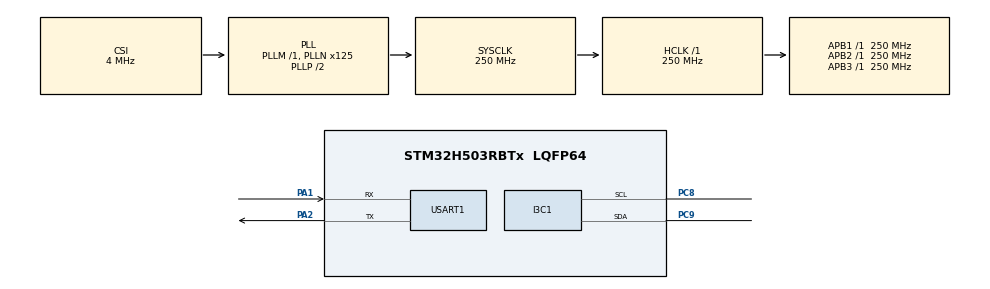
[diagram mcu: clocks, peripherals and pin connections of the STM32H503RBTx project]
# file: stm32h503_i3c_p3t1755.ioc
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CORTEX_M33_NS.Number-Cortex_Memory_Protection_Unit_Region0_OTP_RO_AREAS_Settings=MPU_REGION_NUMBER0
CORTEX_M33_NS.default_mode_Activation=1
I3C1.BusFreeDuration=402
I3C1.FrequencyI3C=12500
I3C1.Register0=0x0059070b
I3C1.Register1=0x003100f8
I3C1.SCLI3CHighDuration=0x07
I3C1.SCLODLowDuration=0x59
I3C1.SCLPPLowDuration=0x0b
I3C1.SCL_OD_Freq=2551
I3C1.SCL_PP_Freq=12500
I3C1.hexBusFreeDuration=0x31
I3C1.hexBusIdleDuration=0xf8
Mcu.Family=STM32H5
Mcu.Name=STM32H503RBTx
Mcu.Package=LQFP64
NVIC.I3C1_ER_IRQn=true\:0\:0\:false\:false\:true\:true\:true\:true
NVIC.I3C1_EV_IRQn=true\:0\:0\:false\:false\:true\:true\:true\:true
NVIC.PriorityGroup=NVIC_PRIORITYGROUP_4
PA1.Mode=Asynchronous
PA1.Signal=USART1_RX
PA13(JTMS/SWDIO).Mode=Serial_Wire
PA13(JTMS/SWDIO).Signal=DEBUG_JTMS-SWDIO
PA14(JTCK/SWCLK).Mode=Serial_Wire
PA14(JTCK/SWCLK).Signal=DEBUG_JTCK-SWCLK
PA2.Mode=Asynchronous
PA2.Signal=USART1_TX
PC8.Mode=Controller
PC8.Signal=I3C1_SCL
PC9.Mode=Controller
PC9.Signal=I3C1_SDA
PH0-OSC_IN(PH0).Mode=HSE-External-Clock-Source
PH0-OSC_IN(PH0).Signal=RCC_OSC_IN
ProjectManager.HeapSize=0x400
ProjectManager.StackSize=0x800
ProjectManager.TargetToolchain=CMake
RCC.ADCFreq_Value=250000000
RCC.AHBFreq_Value=250000000
RCC.APB1Freq_Value=250000000
RCC.APB1TimFreq_Value=250000000
RCC.APB2Freq_Value=250000000
RCC.APB2TimFreq_Value=250000000
RCC.APB3Freq_Value=250000000
RCC.CSI_VALUE=4000000
RCC.CortexFreq_Value=250000000
RCC.EPOD_VALUE=4000000
RCC.HCLKFreq_Value=250000000
RCC.HSE_VALUE=8000000
RCC.HSI48_VALUE=48000000
RCC.HSI_VALUE=64000000
RCC.LSE_VALUE=32768
RCC.LSIRC_VALUE=32000
RCC.PLL2FRACN=0
RCC.PLLFRACN=0
RCC.PLLN=125
RCC.SYSCLKFreq_VALUE=250000000
RCC.SYSCLKSource=RCC_SYSCLKSOURCE_PLLCLK
RCC.USBFreq_Value=48000000
RCC.VCOOutputFreq_Value=500000000
USART1.DMADisableonRxErrorParam=ADVFEATURE_DMA_DISABLEONRXERROR
USART1.OverrunDisableParam=ADVFEATURE_OVERRUN_DISABLE
USART1.VirtualMode-Asynchronous=VM_ASYNC
VP_BOOTPATH_VS_BOOTPATH.Mode=BP_Activate
VP_CORTEX_M33_NS_VS_Hclk.Mode=Hclk_Mode
VP_ICACHE_VS_ICACHE.Mode=DirectMappedCache
VP_MEMORYMAP_VS_MEMORYMAP.Mode=CurAppReg
VP_PWR_VS_LPOM.Mode=PowerOptimisation
VP_PWR_VS_SECSignals.Mode=Security/Privilege
board=custom

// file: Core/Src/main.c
/* USER CODE BEGIN Header */
/**
  ******************************************************************************
  * @file           : main.c
  * @brief          : Main program body
  ******************************************************************************
  * @attention
  *
  * Copyright (c) 2026 STMicroelectronics.
  * All rights reserved.
  *
  * This software is licensed under terms that can be found in the LICENSE file
  * in the root directory of this software component.
  * If no LICENSE file comes with this software, it is provided AS-IS.
  *
  ******************************************************************************
  */
/* USER CODE END Header */
#include "main.h"

/* USER CODE BEGIN Includes */
#include <stdio.h>
#include "p3t1755.h"

/* USER CODE END Includes */

/* USER CODE BEGIN PD */
#define P3T1755_POWER_UP_DELAY_MS     100U
#define P3T1755_POLL_PERIOD_MS        1000U
#define P3T1755_IBI_LOW_OFFSET_MILLIC 1000
#define P3T1755_IBI_HIGH_OFFSET_MILLIC 500
#define P3T1755_DYNAMIC_ADDR_BASE     0x30U
#define P3T1755_CCC_DISEC             0x01U
#define P3T1755_CCC_ENTDAA            0x07U
#define P3T1755_DISEC_INT_EVENT_MASK  0x08U

/* USER CODE END PD */

I3C_HandleTypeDef hi3c1;

UART_HandleTypeDef huart1;

/* USER CODE BEGIN PV */
static P3T1755_HandleTypeDef g_p3t1755Targets[P3T1755_MAX_TARGETS];
static uint8_t g_p3t1755TargetCount;
static volatile uint32_t g_i3cEvents;

/* USER CODE END PV */

void SystemClock_Config(void);
static void MPU_Config(void);
static void MX_GPIO_Init(void);
static void MX_I3C1_Init(void);
static void MX_ICACHE_Init(void);
static void MX_USART1_UART_Init(void);
/* USER CODE BEGIN PFP */
static void APP_PrintBanner(void);
static void APP_LogI3CFailure(const char *operation, HAL_StatusTypeDef status);
static HAL_StatusTypeDef APP_I3C_ApplyBusTiming(uint8_t sclPpLow,
                                                uint8_t sclI3cHigh,
                                                uint8_t sclOdLow,
                                                uint8_t sclI2cHigh,
                                                uint8_t busFree,
                                                uint8_t busIdle);
static HAL_StatusTypeDef APP_I3C_ResetDynamicAddresses(void);
static void APP_PrintMilliC(const char *label, int32_t temperatureMilliC);
static const char *APP_StatusToText(HAL_StatusTypeDef status);
static const char *APP_CccToText(uint8_t cccCode);
static void APP_LogCccCommand(const char *phase,
                              const char *direction,
                              uint8_t targetAddress,
                              uint8_t cccCode,
                              const uint8_t *payload,
                              uint32_t size);
static HAL_StatusTypeDef APP_DiscoverTargets(void);
static HAL_StatusTypeDef APP_AssociateIdentityViaEntdaa(void);
static void APP_PrintTargetTable(void);
static void APP_PrintTargetIdentity(const P3T1755_HandleTypeDef *target);
static HAL_StatusTypeDef APP_VerifyTargetsAtCurrentTiming(void);
static HAL_StatusTypeDef APP_ReadAndPrintTemperatures(void);
static void APP_LogThresholds(const char *label, int32_t lowThresholdMilliC, int32_t highThresholdMilliC);
static HAL_StatusTypeDef APP_SetupThresholdsAndIbi(P3T1755_HandleTypeDef *target, int32_t currentTempMilliC);
static HAL_StatusTypeDef APP_SetupMultiTargetIbi(void);
static P3T1755_HandleTypeDef *APP_FindTargetByDynamicAddress(uint8_t dynamicAddress);
static void APP_HandleIbiEvent(void);
int __io_putchar(int ch);
int __io_getchar(void);

/* USER CODE END PFP */

/* USER CODE BEGIN 0 */
int __io_putchar(int ch)
{
  uint8_t data = (uint8_t)ch;

  (void)HAL_UART_Transmit(&huart1, &data, 1U, HAL_MAX_DELAY);

  return ch;
}

int __io_getchar(void)
{
  uint8_t data = 0;

  (void)HAL_UART_Receive(&huart1, &data, 1U, HAL_MAX_DELAY);

  return (int)data;
}

static void APP_PrintBanner(void)
{
  printf("\r\n=== stm32h503_i3c_p3t1755 ===\r\n");
  printf("  board        : STM32H503 / I3C1 / USART1\r\n");
  printf("  i3c pins     : SDA=PC9 SCL=PC8\r\n");
  printf("  uart pins    : TX=PA2 RX=PA1\r\n");
  printf("  static scan  : 0x%02X..0x%02X\r\n",
         P3T1755_STATIC_ADDR_MIN,
    P3T1755_STATIC_ADDR_MAX);
  printf("  dynamic base : 0x%02X\r\n",
    P3T1755_DYNAMIC_ADDR_BASE);
}

static void APP_LogI3CFailure(const char *operation, HAL_StatusTypeDef status)
{
  printf("%s failed: status=%d state=0x%02lX error=0x%08lX\r\n",
         operation,
         (int)status,
         (unsigned long)HAL_I3C_GetState(&hi3c1),
         (unsigned long)hi3c1.ErrorCode);
}

static HAL_StatusTypeDef APP_I3C_ApplyBusTiming(uint8_t sclPpLow,
                                                uint8_t sclI3cHigh,
                                                uint8_t sclOdLow,
                                                uint8_t sclI2cHigh,
                                                uint8_t busFree,
                                                uint8_t busIdle)
{
  LL_I3C_CtrlBusConfTypeDef ctrlBusConf = {0};

  ctrlBusConf.SDAHoldTime = HAL_I3C_SDA_HOLD_TIME_1_5;
  ctrlBusConf.WaitTime = HAL_I3C_OWN_ACTIVITY_STATE_0;
  ctrlBusConf.SCLPPLowDuration = sclPpLow;
  ctrlBusConf.SCLI3CHighDuration = sclI3cHigh;
  ctrlBusConf.SCLODLowDuration = sclOdLow;
  ctrlBusConf.SCLI2CHighDuration = sclI2cHigh;
  ctrlBusConf.BusFreeDuration = busFree;
  ctrlBusConf.BusIdleDuration = busIdle;

  return HAL_I3C_Ctrl_BusCharacteristicConfig(&hi3c1, &ctrlBusConf);
}

static HAL_StatusTypeDef APP_I3C_ResetDynamicAddresses(void)
{
  static const uint8_t disableEventsMask[1] = {P3T1755_DISEC_INT_EVENT_MASK};
  I3C_CCCTypeDef ccc[2] = {0};
  I3C_XferTypeDef xfer = {0};
  uint32_t controlBuffer[4] = {0};

  APP_LogCccCommand("init", "TX", 0x7EU, P3T1755_CCC_DISEC, disableEventsMask, sizeof(disableEventsMask));
  APP_LogCccCommand("init", "TX", 0x7EU, Broadcast_RSTDAA, NULL, 0U);

  ccc[0].TargetAddr = 0U;
  ccc[0].CCC = P3T1755_CCC_DISEC;
  ccc[0].Direction = LL_I3C_DIRECTION_WRITE;
  ccc[0].CCCBuf.pBuffer = (uint8_t *)disableEventsMask;
  ccc[0].CCCBuf.Size = sizeof(disableEventsMask);

  ccc[1].TargetAddr = 0U;
  ccc[1].CCC = Broadcast_RSTDAA;
  ccc[1].Direction = LL_I3C_DIRECTION_WRITE;
  ccc[1].CCCBuf.pBuffer = NULL;
  ccc[1].CCCBuf.Size = 0U;

  xfer.CtrlBuf.pBuffer = controlBuffer;
  xfer.CtrlBuf.Size = 4U;
  xfer.TxBuf.pBuffer = (uint8_t *)disableEventsMask;
  xfer.TxBuf.Size = sizeof(disableEventsMask);

  if (HAL_I3C_AddDescToFrame(&hi3c1,
                             ccc,
                             NULL,
                             &xfer,
                             2U,
                             I3C_BROADCAST_WITHOUT_DEFBYTE_RESTART) != HAL_OK)
  {
    return HAL_ERROR;
  }

  return HAL_I3C_Ctrl_TransmitCCC(&hi3c1, &xfer, P3T1755_XFER_TIMEOUT_MS);
}

static void APP_PrintMilliC(const char *label, int32_t temperatureMilliC)
{
  int32_t absMilliC = (temperatureMilliC < 0) ? -temperatureMilliC : temperatureMilliC;

  printf("%s%s%ld.%03ld C",
         label,
         (temperatureMilliC < 0) ? "-" : "",
         (long)(absMilliC / 1000),
         (long)(absMilliC % 1000));
}

static void APP_PrintProvisionedId(uint64_t provisionedId)
{
  unsigned long pidHigh = (unsigned long)((provisionedId >> 32) & 0xFFFFUL);
  unsigned long pidLow = (unsigned long)(provisionedId & 0xFFFFFFFFUL);

  printf("0x%04lX%08lX", pidHigh, pidLow);
}

static const char *APP_StatusToText(HAL_StatusTypeDef status)
{
  switch (status)
  {
    case HAL_OK:
      return "OK";
    case HAL_ERROR:
      return "ERR";
    case HAL_BUSY:
      return "BUSY";
    case HAL_TIMEOUT:
      return "TIMEOUT";
    default:
      return "UNKNOWN";
  }
}

static const char *APP_CccToText(uint8_t cccCode)
{
  switch (cccCode)
  {
    case P3T1755_CCC_DISEC:
      return "DISEC";
    case Broadcast_RSTDAA:
      return "RSTDAA";
    case P3T1755_CCC_SETDASA:
      return "SETDASA";
    case P3T1755_CCC_ENEC:
      return "ENEC";
    case P3T1755_CCC_ENTDAA:
      return "ENTDAA";
    case P3T1755_CCC_GETPID:
      return "GETPID";
    case P3T1755_CCC_GETBCR:
      return "GETBCR";
    case P3T1755_CCC_GETDCR:
      return "GETDCR";
    default:
      return "CCC";
  }
}

static void APP_LogCccCommand(const char *phase,
                              const char *direction,
                              uint8_t targetAddress,
                              uint8_t cccCode,
                              const uint8_t *payload,
                              uint32_t size)
{
  uint32_t index;

    printf("  [%s] CCC %-2s %-6s target=0x%02X",
      phase,
         direction,
         APP_CccToText(cccCode),
         targetAddress);

  if ((payload != NULL) && (size > 0U))
  {
    printf(" data=");
    for (index = 0U; index < size; ++index)
    {
      printf("%02X", payload[index]);
      if ((index + 1U) < size)
      {
        printf(" ");
      }
    }
  }

  printf("\r\n");
}

static HAL_StatusTypeDef APP_DiscoverTargets(void)
{
  uint8_t staticAddress;
  uint8_t dynamicAddress = P3T1755_DYNAMIC_ADDR_BASE;

  g_p3t1755TargetCount = 0U;

  printf("\r\n[init] Static Address Discovery\r\n");

  for (staticAddress = P3T1755_STATIC_ADDR_MIN;
       staticAddress <= P3T1755_STATIC_ADDR_MAX;
       ++staticAddress)
  {
    HAL_StatusTypeDef status;
    P3T1755_HandleTypeDef *target = &g_p3t1755Targets[g_p3t1755TargetCount];
    uint8_t setDasaData[1] = {(uint8_t)(dynamicAddress << 1)};

    P3T1755_Init(target, &hi3c1, staticAddress, dynamicAddress);
    target->deviceIndex = (uint8_t)(g_p3t1755TargetCount + 1U);

    APP_LogCccCommand("init", "TX", staticAddress, P3T1755_CCC_SETDASA, setDasaData, sizeof(setDasaData));

    status = P3T1755_AssignDynamicAddress(target);
    if (status == HAL_OK)
    {
          printf("  target[%u]\r\n",
            (unsigned int)(g_p3t1755TargetCount + 1U));
          printf("    static      : 0x%02X\r\n", staticAddress);
          printf("    dynamic     : 0x%02X\r\n", dynamicAddress);
          printf("    method      : SETDASA\r\n");

      ++g_p3t1755TargetCount;
      ++dynamicAddress;

      if (g_p3t1755TargetCount >= P3T1755_MAX_TARGETS)
      {
        break;
      }
    }
    else if (hi3c1.ErrorCode == HAL_I3C_ERROR_ADDRESS_NACK)
    {
      hi3c1.ErrorCode = HAL_I3C_ERROR_NONE;
    }
    else
    {
      printf("Assign dyn addr failed for static=0x%02X dyn=0x%02X error=0x%08lX\r\n",
             staticAddress,
             dynamicAddress,
             (unsigned long)hi3c1.ErrorCode);
      return status;
    }
  }

  return (g_p3t1755TargetCount > 0U) ? HAL_OK : HAL_ERROR;
}

static HAL_StatusTypeDef APP_AssociateIdentityViaEntdaa(void)
{
  uint8_t identityIndex;

  printf("\r\n[init] ENTDAA Identity Correlation\r\n");

  for (identityIndex = 0U; identityIndex < g_p3t1755TargetCount; ++identityIndex)
  {
    HAL_StatusTypeDef status;
    uint8_t parkedIndex;
    P3T1755_HandleTypeDef *target = &g_p3t1755Targets[identityIndex];

    status = APP_I3C_ResetDynamicAddresses();
    if (status != HAL_OK)
    {
      return status;
    }

        printf("  target[%u]\r\n",
          (unsigned int)target->deviceIndex);
        printf("    static      : 0x%02X\r\n",
          target->staticAddress);
        printf("    strategy    : isolate peers then ENTDAA\r\n");

    for (parkedIndex = 0U; parkedIndex < g_p3t1755TargetCount; ++parkedIndex)
    {
      P3T1755_HandleTypeDef *parkedTarget = &g_p3t1755Targets[parkedIndex];
      uint8_t setDasaData[1];

      if (parkedIndex == identityIndex)
      {
        continue;
      }

      setDasaData[0] = (uint8_t)(parkedTarget->dynamicAddress << 1);
      APP_LogCccCommand("init", "TX", parkedTarget->staticAddress, P3T1755_CCC_SETDASA, setDasaData, sizeof(setDasaData));

      status = P3T1755_AssignDynamicAddress(parkedTarget);
      if (status != HAL_OK)
      {
        printf("[init] park target failed static=0x%02X dyn=0x%02X error=0x%08lX\r\n",
               parkedTarget->staticAddress,
               parkedTarget->dynamicAddress,
               (unsigned long)hi3c1.ErrorCode);
        return status;
      }

      printf("    parked peer : static=0x%02X dynamic=0x%02X\r\n",
             parkedTarget->staticAddress,
             parkedTarget->dynamicAddress);
    }

    APP_LogCccCommand("init", "TX", 0x7EU, P3T1755_CCC_ENTDAA, NULL, 0U);

    status = P3T1755_AssignDynamicAddressByEntdaa(target);
    if (status != HAL_OK)
    {
      printf("[init] ENTDAA identity capture failed static=0x%02X dyn=0x%02X error=0x%08lX\r\n",
             target->staticAddress,
             target->dynamicAddress,
             (unsigned long)hi3c1.ErrorCode);
      return status;
    }

                printf("    dynamic     : 0x%02X\r\n",
                  target->dynamicAddress);
                printf("    pid         : ");
                APP_PrintProvisionedId(target->provisionedId);
                printf("\r\n");
                printf("    bcr         : 0x%02X\r\n",
                  target->rawBcr);
                printf("    dcr         : 0x%02X\r\n",
                  target->rawDcr);
  }

  return HAL_OK;
}

static void APP_PrintTargetTable(void)
{
  uint8_t index;

          printf("\r\n[init] Target Summary\r\n");
          printf("  count        : %u\r\n",
            (unsigned int)g_p3t1755TargetCount);

  for (index = 0U; index < g_p3t1755TargetCount; ++index)
  {
            printf("  target[%u]\r\n",
              (unsigned int)(index + 1U));
    APP_PrintTargetIdentity(&g_p3t1755Targets[index]);
  }
}

static void APP_PrintTargetIdentity(const P3T1755_HandleTypeDef *target)
{
  if (target->hasDeviceInfo == 0U)
  {
    printf("    static      : 0x%02X\r\n",
      target->staticAddress);
    printf("    dynamic     : 0x%02X\r\n",
      target->dynamicAddress);
    printf("    identity    : unavailable via ENTDAA correlation\r\n");
    return;
  }

  printf("    static      : 0x%02X\r\n",
    target->staticAddress);
  printf("    dynamic     : 0x%02X\r\n",
    target->dynamicAddress);
  printf("    pid         : ");
  APP_PrintProvisionedId(target->provisionedId);
  printf("\r\n");
  printf("    pid.mfg     : 0x%04lX\r\n",
    (unsigned long)target->entdaaInfo.PID.MIPIMID);
  printf("    pid.idsel   : %lu\r\n",
    (unsigned long)target->entdaaInfo.PID.IDTSEL);
  printf("    pid.part    : 0x%04lX\r\n",
    (unsigned long)target->entdaaInfo.PID.PartID);
  printf("    pid.inst    : 0x%01lX\r\n",
    (unsigned long)target->entdaaInfo.PID.MIPIID);
  printf("    bcr         : 0x%02X\r\n",
    target->rawBcr);
  printf("    bcr.ibi     : %u\r\n",
    (unsigned int)target->entdaaInfo.BCR.IBIRequestCapable);
  printf("    bcr.payload : %u\r\n",
    (unsigned int)target->entdaaInfo.BCR.IBIPayload);
  printf("    bcr.roleReq : %u\r\n",
    (unsigned int)target->entdaaInfo.BCR.DeviceRole);
  printf("    bcr.offline : %u\r\n",
    (unsigned int)target->entdaaInfo.BCR.OfflineCapable);
  printf("    bcr.virtual : %u\r\n",
    (unsigned int)target->entdaaInfo.BCR.VirtualTargetSupport);
  printf("    bcr.adv     : %u\r\n",
    (unsigned int)target->entdaaInfo.BCR.AdvancedCapabilities);
  printf("    bcr.speed   : %u\r\n",
    (unsigned int)target->entdaaInfo.BCR.MaxDataSpeedLimitation);
  printf("    dcr         : 0x%02X\r\n",
    target->rawDcr);
}

static HAL_StatusTypeDef APP_VerifyTargetsAtCurrentTiming(void)
{
  uint8_t index;

  for (index = 0U; index < g_p3t1755TargetCount; ++index)
  {
    HAL_StatusTypeDef status = HAL_I3C_Ctrl_IsDeviceI3C_Ready(&hi3c1,
                                                              g_p3t1755Targets[index].dynamicAddress,
                                                              P3T1755_READY_TRIALS,
                                                              P3T1755_XFER_TIMEOUT_MS);
    if (status != HAL_OK)
    {
      printf("Target ready check failed: static=0x%02X dyn=0x%02X\r\n",
             g_p3t1755Targets[index].staticAddress,
             g_p3t1755Targets[index].dynamicAddress);
      return status;
    }
  }

  return HAL_OK;
}

static HAL_StatusTypeDef APP_ReadAndPrintTemperatures(void)
{
  HAL_StatusTypeDef overallStatus = HAL_OK;
  uint8_t index;

  for (index = 0U; index < g_p3t1755TargetCount; ++index)
  {
    HAL_StatusTypeDef status;
    uint16_t tempRaw = 0;
    uint8_t confRaw = 0;
    int32_t tempMilliC = 0;

    status = P3T1755_ReadTemperature(&g_p3t1755Targets[index], &tempRaw, &tempMilliC);
    if (status != HAL_OK)
    {
      overallStatus = status;
      printf("T%u[0x%02X->0x%02X]=%s(error=0x%08lX)",
             (unsigned int)(index + 1U),
             g_p3t1755Targets[index].staticAddress,
             g_p3t1755Targets[index].dynamicAddress,
             APP_StatusToText(status),
             (unsigned long)hi3c1.ErrorCode);
      if ((index + 1U) < g_p3t1755TargetCount)
      {
        printf(" ");
      }
      continue;
    }

    status = P3T1755_ReadConfig(&g_p3t1755Targets[index], &confRaw);
    if (status != HAL_OK)
    {
      overallStatus = status;
      printf("T%u[0x%02X->0x%02X]=CONF_%s(error=0x%08lX)",
             (unsigned int)(index + 1U),
             g_p3t1755Targets[index].staticAddress,
             g_p3t1755Targets[index].dynamicAddress,
             APP_StatusToText(status),
             (unsigned long)hi3c1.ErrorCode);
      if ((index + 1U) < g_p3t1755TargetCount)
      {
        printf(" ");
      }
      continue;
    }

    printf("T%u[0x%02X->0x%02X]=%02X%02X/conf=0x%02X/",
           (unsigned int)(index + 1U),
           g_p3t1755Targets[index].staticAddress,
           g_p3t1755Targets[index].dynamicAddress,
           (unsigned int)(tempRaw >> 8),
           (unsigned int)(tempRaw & 0xFFU),
           confRaw);
    APP_PrintMilliC("", tempMilliC);
    if ((index + 1U) < g_p3t1755TargetCount)
    {
      printf(" ");
    }
  }

  printf("\r\n");
  return overallStatus;
}

static void APP_LogThresholds(const char *label, int32_t lowThresholdMilliC, int32_t highThresholdMilliC)
{
  printf("%s", label);
  APP_PrintMilliC("T_LOW=", lowThresholdMilliC);
  printf(" ");
  APP_PrintMilliC("T_HIGH=", highThresholdMilliC);
  printf("\r\n");
}

static HAL_StatusTypeDef APP_SetupThresholdsAndIbi(P3T1755_HandleTypeDef *target, int32_t currentTempMilliC)
{
  int32_t lowThresholdMilliC = currentTempMilliC + P3T1755_IBI_LOW_OFFSET_MILLIC;
  int32_t highThresholdMilliC = currentTempMilliC + P3T1755_IBI_HIGH_OFFSET_MILLIC + P3T1755_IBI_LOW_OFFSET_MILLIC;
  int32_t readbackLowMilliC = 0;
  int32_t readbackHighMilliC = 0;
  uint8_t configValue = 0;
  HAL_StatusTypeDef status;

  status = P3T1755_SetInterruptMode(target);
  if (status != HAL_OK)
  {
    return status;
  }

  status = P3T1755_ReadConfig(target, &configValue);
  if (status != HAL_OK)
  {
    return status;
  }

  printf("Config updated for interrupt mode: 0x%02X\r\n", configValue);

  status = P3T1755_WriteThresholds(target, lowThresholdMilliC, highThresholdMilliC);
  if (status != HAL_OK)
  {
    return status;
  }

  status = P3T1755_ReadThresholds(target, &readbackLowMilliC, &readbackHighMilliC);
  if (status != HAL_OK)
  {
    return status;
  }

  APP_LogThresholds("IBI thresholds programmed: ", readbackLowMilliC, readbackHighMilliC);

  APP_LogCccCommand("init", "TX", target->dynamicAddress, P3T1755_CCC_ENEC, (const uint8_t[]){P3T1755_EVENT_SIR}, 1U);

  return P3T1755_EnableIbi(target);
}

static HAL_StatusTypeDef APP_SetupMultiTargetIbi(void)
{
  uint8_t index;

  for (index = 0U; index < g_p3t1755TargetCount; ++index)
  {
    HAL_StatusTypeDef status;
    uint16_t tempRaw = 0;
    int32_t tempMilliC = 0;
    P3T1755_HandleTypeDef *target = &g_p3t1755Targets[index];

    if (target->hasEntdaaInfo && (target->entdaaInfo.BCR.IBIRequestCapable == DISABLE))
    {
      printf("IBI skipped for T%u[0x%02X->0x%02X]: BCR reports no IBI support\r\n",
             (unsigned int)target->deviceIndex,
             target->staticAddress,
             target->dynamicAddress);
      continue;
    }

    status = P3T1755_ReadTemperature(target, &tempRaw, &tempMilliC);
    if (status != HAL_OK)
    {
      APP_LogI3CFailure("ReadTemperatureBeforeIbiSetup", status);
      return status;
    }

    printf("IBI setup for T%u[0x%02X->0x%02X] tempRaw=%02X%02X ",
           (unsigned int)target->deviceIndex,
           target->staticAddress,
           target->dynamicAddress,
           (unsigned int)(tempRaw >> 8),
           (unsigned int)(tempRaw & 0xFFU));
    APP_PrintMilliC("temp=", tempMilliC);
    printf("\r\n");

    status = APP_SetupThresholdsAndIbi(target, tempMilliC);
    if (status != HAL_OK)
    {
      printf("IBI enable failed for T%u[0x%02X->0x%02X]\r\n",
             (unsigned int)target->deviceIndex,
             target->staticAddress,
             target->dynamicAddress);
      return status;
    }

    printf("IBI enabled for T%u[0x%02X->0x%02X]\r\n",
           (unsigned int)target->deviceIndex,
           target->staticAddress,
           target->dynamicAddress);
  }

  return HAL_OK;
}

static P3T1755_HandleTypeDef *APP_FindTargetByDynamicAddress(uint8_t dynamicAddress)
{
  uint8_t index;

  for (index = 0U; index < g_p3t1755TargetCount; ++index)
  {
    if (g_p3t1755Targets[index].dynamicAddress == dynamicAddress)
    {
      return &g_p3t1755Targets[index];
    }
  }

  return NULL;
}

static void APP_HandleIbiEvent(void)
{
  HAL_StatusTypeDef status;
  I3C_CCCInfoTypeDef cccInfo = {0};
  P3T1755_HandleTypeDef *target;

  status = HAL_I3C_GetCCCInfo(&hi3c1, EVENT_ID_IBI, &cccInfo);
  if (status != HAL_OK)
  {
    APP_LogI3CFailure("GetCCCInfo(IBI)", status);
    return;
  }

  target = APP_FindTargetByDynamicAddress((uint8_t)cccInfo.IBICRTgtAddr);
  if (target == NULL)
  {
    printf("IBI event: unknown target=0x%02X payload=0x%08lX\r\n",
           (unsigned int)cccInfo.IBICRTgtAddr,
           (unsigned long)cccInfo.IBITgtPayload);
    return;
  }

  printf("IBI event: T%u[0x%02X->0x%02X] payload=0x%08lX ",
         (unsigned int)target->deviceIndex,
         target->staticAddress,
         target->dynamicAddress,
         (unsigned long)cccInfo.IBITgtPayload);

  {
    uint16_t tempRaw = 0;
    int32_t tempMilliC = 0;
    uint8_t confRaw = 0;

    status = P3T1755_ReadTemperature(target, &tempRaw, &tempMilliC);
    if (status != HAL_OK)
    {
      printf("tempRead=%s(error=0x%08lX)\r\n",
             APP_StatusToText(status),
             (unsigned long)hi3c1.ErrorCode);
      return;
    }

    status = P3T1755_ReadConfig(target, &confRaw);
    if (status != HAL_OK)
    {
      printf("confRead=%s(error=0x%08lX)\r\n",
             APP_StatusToText(status),
             (unsigned long)hi3c1.ErrorCode);
      return;
    }

    printf("tempRaw=%02X%02X conf=0x%02X ",
           (unsigned int)(tempRaw >> 8),
           (unsigned int)(tempRaw & 0xFFU),
           confRaw);
    APP_PrintMilliC("temp=", tempMilliC);
    printf("\r\n");
  }
}

void HAL_I3C_NotifyCallback(I3C_HandleTypeDef *hi3c, uint32_t eventId)
{
  if (hi3c == &hi3c1)
  {
    g_i3cEvents |= eventId;
  }
}

/* USER CODE END 0 */

int main(void)
{

  /* MCU Configuration--------------------------------------------------------*/

  /* MPU Configuration--------------------------------------------------------*/
  MPU_Config();

  /* Reset of all peripherals, Initializes the Flash interface and the Systick. */
  HAL_Init();

  /* Configure the system clock */
  SystemClock_Config();

  /* Initialize all configured peripherals */
  MX_GPIO_Init();
  MX_I3C1_Init();
  MX_ICACHE_Init();
  MX_USART1_UART_Init();
  /* USER CODE BEGIN 2 */
  HAL_StatusTypeDef status;

  HAL_Delay(P3T1755_POWER_UP_DELAY_MS);
  APP_PrintBanner();

  status = APP_I3C_ApplyBusTiming(0x7cU, 0x7cU, 0x7cU, 0x00U, 0x32U, 0xf8U);
  if (status != HAL_OK)
  {
    APP_LogI3CFailure("ApplySafeBusTiming", status);
    Error_Handler();
  }

  status = APP_I3C_ResetDynamicAddresses();
  if (status != HAL_OK)
  {
    APP_LogI3CFailure("BroadcastRSTDAA", status);
    Error_Handler();
  }

  status = APP_DiscoverTargets();
  if (status != HAL_OK)
  {
    APP_LogI3CFailure("P3T1755_DiscoverTargets", status);
    Error_Handler();
  }

  status = APP_AssociateIdentityViaEntdaa();
  if (status != HAL_OK)
  {
    APP_LogI3CFailure("P3T1755_AssociateIdentityViaEntdaa", status);
    Error_Handler();
  }

  APP_PrintTargetTable();

  status = APP_I3C_ApplyBusTiming(0x0bU, 0x07U, 0x59U, 0x00U, 0x31U, 0xf8U);
  if (status != HAL_OK)
  {
    APP_LogI3CFailure("ApplyFastBusTiming", status);
    Error_Handler();
  }

  status = APP_VerifyTargetsAtCurrentTiming();
  if (status != HAL_OK)
  {
    APP_LogI3CFailure("VerifyTargetsAfterFastTiming", status);
    Error_Handler();
  }

  printf("I3C bus timing switched to 12.5MHz for private SDR transfers\r\n");

  status = APP_ReadAndPrintTemperatures();
  if (status != HAL_OK)
  {
    APP_LogI3CFailure("InitialTemperatureRead", status);
  }

  status = APP_SetupMultiTargetIbi();
  if (status != HAL_OK)
  {
    APP_LogI3CFailure("SetupMultiTargetIbi", status);
  }

  /* USER CODE END 2 */

  /* Infinite loop */
  while (1)
  {

    /* USER CODE BEGIN 3 */
    while ((g_i3cEvents & EVENT_ID_IBI) == EVENT_ID_IBI)
    {
      g_i3cEvents &= ~EVENT_ID_IBI;
      APP_HandleIbiEvent();
    }

    (void)APP_ReadAndPrintTemperatures();

    HAL_Delay(P3T1755_POLL_PERIOD_MS);
  }
  /* USER CODE END 3 */
}

void SystemClock_Config(void)
{
  RCC_OscInitTypeDef RCC_OscInitStruct = {0};
  RCC_ClkInitTypeDef RCC_ClkInitStruct = {0};

  /** Configure the main internal regulator output voltage
  */
  __HAL_PWR_VOLTAGESCALING_CONFIG(PWR_REGULATOR_VOLTAGE_SCALE0);

  while(!__HAL_PWR_GET_FLAG(PWR_FLAG_VOSRDY)) {}

  /** Initializes the RCC Oscillators according to the specified parameters
  * in the RCC_OscInitTypeDef structure.
  */
  RCC_OscInitStruct.OscillatorType = RCC_OSCILLATORTYPE_CSI;
  RCC_OscInitStruct.CSIState = RCC_CSI_ON;
  RCC_OscInitStruct.CSICalibrationValue = RCC_CSICALIBRATION_DEFAULT;
  RCC_OscInitStruct.PLL.PLLState = RCC_PLL_ON;
  RCC_OscInitStruct.PLL.PLLSource = RCC_PLL1_SOURCE_CSI;
  RCC_OscInitStruct.PLL.PLLM = 1;
  RCC_OscInitStruct.PLL.PLLN = 125;
  RCC_OscInitStruct.PLL.PLLP = 2;
  RCC_OscInitStruct.PLL.PLLQ = 2;
  RCC_OscInitStruct.PLL.PLLR = 2;
  RCC_OscInitStruct.PLL.PLLRGE = RCC_PLL1_VCIRANGE_2;
  RCC_OscInitStruct.PLL.PLLVCOSEL = RCC_PLL1_VCORANGE_WIDE;
  RCC_OscInitStruct.PLL.PLLFRACN = 0;
  if (HAL_RCC_OscConfig(&RCC_OscInitStruct) != HAL_OK)
  {
    Error_Handler();
  }

  /** Initializes the CPU, AHB and APB buses clocks
  */
  RCC_ClkInitStruct.ClockType = RCC_CLOCKTYPE_HCLK|RCC_CLOCKTYPE_SYSCLK
                              |RCC_CLOCKTYPE_PCLK1|RCC_CLOCKTYPE_PCLK2
                              |RCC_CLOCKTYPE_PCLK3;
  RCC_ClkInitStruct.SYSCLKSource = RCC_SYSCLKSOURCE_PLLCLK;
  RCC_ClkInitStruct.AHBCLKDivider = RCC_SYSCLK_DIV1;
  RCC_ClkInitStruct.APB1CLKDivider = RCC_HCLK_DIV1;
  RCC_ClkInitStruct.APB2CLKDivider = RCC_HCLK_DIV1;
  RCC_ClkInitStruct.APB3CLKDivider = RCC_HCLK_DIV1;

  if (HAL_RCC_ClockConfig(&RCC_ClkInitStruct, FLASH_LATENCY_5) != HAL_OK)
  {
    Error_Handler();
  }

  /** Configure the programming delay
  */
  __HAL_FLASH_SET_PROGRAM_DELAY(FLASH_PROGRAMMING_DELAY_2);
}

static void MX_I3C1_Init(void)
{

  I3C_FifoConfTypeDef sFifoConfig = {0};
  I3C_CtrlConfTypeDef sCtrlConfig = {0};

  hi3c1.Instance = I3C1;
  hi3c1.Mode = HAL_I3C_MODE_CONTROLLER;
  hi3c1.Init.CtrlBusCharacteristic.SDAHoldTime = HAL_I3C_SDA_HOLD_TIME_1_5;
  hi3c1.Init.CtrlBusCharacteristic.WaitTime = HAL_I3C_OWN_ACTIVITY_STATE_0;
  hi3c1.Init.CtrlBusCharacteristic.SCLPPLowDuration = 0x0b;
  hi3c1.Init.CtrlBusCharacteristic.SCLI3CHighDuration = 0x07;
  hi3c1.Init.CtrlBusCharacteristic.SCLODLowDuration = 0x59;
  hi3c1.Init.CtrlBusCharacteristic.SCLI2CHighDuration = 0x00;
  hi3c1.Init.CtrlBusCharacteristic.BusFreeDuration = 0x31;
  hi3c1.Init.CtrlBusCharacteristic.BusIdleDuration = 0xf8;
  if (HAL_I3C_Init(&hi3c1) != HAL_OK)
  {
    Error_Handler();
  }

  /** Configure FIFO
  */
  sFifoConfig.RxFifoThreshold = HAL_I3C_RXFIFO_THRESHOLD_1_4;
  sFifoConfig.TxFifoThreshold = HAL_I3C_TXFIFO_THRESHOLD_1_4;
  sFifoConfig.ControlFifo = HAL_I3C_CONTROLFIFO_DISABLE;
  sFifoConfig.StatusFifo = HAL_I3C_STATUSFIFO_DISABLE;
  if (HAL_I3C_SetConfigFifo(&hi3c1, &sFifoConfig) != HAL_OK)
  {
    Error_Handler();
  }

  /** Configure controller
  */
  sCtrlConfig.DynamicAddr = 0;
  sCtrlConfig.StallTime = 0x00;
  sCtrlConfig.HotJoinAllowed = DISABLE;
  sCtrlConfig.ACKStallState = DISABLE;
  sCtrlConfig.CCCStallState = DISABLE;
  sCtrlConfig.TxStallState = DISABLE;
  sCtrlConfig.RxStallState = DISABLE;
  sCtrlConfig.HighKeeperSDA = DISABLE;
  if (HAL_I3C_Ctrl_Config(&hi3c1, &sCtrlConfig) != HAL_OK)
  {
    Error_Handler();
  }

}

static void MX_ICACHE_Init(void)
{

  /** Enable instruction cache in 1-way (direct mapped cache)
  */
  if (HAL_ICACHE_ConfigAssociativityMode(ICACHE_1WAY) != HAL_OK)
  {
    Error_Handler();
  }
  if (HAL_ICACHE_Enable() != HAL_OK)
  {
    Error_Handler();
  }

}

static void MX_USART1_UART_Init(void)
{

  huart1.Instance = USART1;
  huart1.Init.BaudRate = 115200;
  huart1.Init.WordLength = UART_WORDLENGTH_8B;
  huart1.Init.StopBits = UART_STOPBITS_1;
  huart1.Init.Parity = UART_PARITY_NONE;
  huart1.Init.Mode = UART_MODE_TX_RX;
  huart1.Init.HwFlowCtl = UART_HWCONTROL_NONE;
  huart1.Init.OverSampling = UART_OVERSAMPLING_16;
  huart1.Init.OneBitSampling = UART_ONE_BIT_SAMPLE_DISABLE;
  huart1.Init.ClockPrescaler = UART_PRESCALER_DIV1;
  huart1.AdvancedInit.AdvFeatureInit = UART_ADVFEATURE_RXOVERRUNDISABLE_INIT|UART_ADVFEATURE_DMADISABLEONERROR_INIT;
  huart1.AdvancedInit.OverrunDisable = UART_ADVFEATURE_OVERRUN_DISABLE;
  huart1.AdvancedInit.DMADisableonRxError = UART_ADVFEATURE_DMA_DISABLEONRXERROR;
  if (HAL_UART_Init(&huart1) != HAL_OK)
  {
    Error_Handler();
  }
  if (HAL_UARTEx_SetTxFifoThreshold(&huart1, UART_TXFIFO_THRESHOLD_1_8) != HAL_OK)
  {
    Error_Handler();
  }
  if (HAL_UARTEx_SetRxFifoThreshold(&huart1, UART_RXFIFO_THRESHOLD_1_8) != HAL_OK)
  {
    Error_Handler();
  }
  if (HAL_UARTEx_DisableFifoMode(&huart1) != HAL_OK)
  {
    Error_Handler();
  }

}

static void MX_GPIO_Init(void)
{

  /* GPIO Ports Clock Enable */
  __HAL_RCC_GPIOH_CLK_ENABLE();
  __HAL_RCC_GPIOA_CLK_ENABLE();
  __HAL_RCC_GPIOC_CLK_ENABLE();

}

 /* MPU Configuration */

void MPU_Config(void)
{
  MPU_Region_InitTypeDef MPU_InitStruct = {0};
  MPU_Attributes_InitTypeDef MPU_AttributesInit = {0};

  /* Disables the MPU */
  HAL_MPU_Disable();

  /** Initializes and configures the Region 0 and the memory to be protected
  */
  MPU_InitStruct.Enable = MPU_REGION_ENABLE;
  MPU_InitStruct.Number = MPU_REGION_NUMBER0;
  MPU_InitStruct.BaseAddress = 0x08FFF000;
  MPU_InitStruct.LimitAddress = 0x08FFFFFF;
  MPU_InitStruct.AttributesIndex = MPU_ATTRIBUTES_NUMBER0;
  MPU_InitStruct.AccessPermission = MPU_REGION_ALL_RO;
  MPU_InitStruct.DisableExec = MPU_INSTRUCTION_ACCESS_DISABLE;
  MPU_InitStruct.IsShareable = MPU_ACCESS_NOT_SHAREABLE;

  HAL_MPU_ConfigRegion(&MPU_InitStruct);

  /** Initializes and configures the Attribute 0 and the memory to be protected
  */
  MPU_AttributesInit.Number = MPU_ATTRIBUTES_NUMBER0;
  MPU_AttributesInit.Attributes = INNER_OUTER(MPU_NOT_CACHEABLE);

  HAL_MPU_ConfigMemoryAttributes(&MPU_AttributesInit);
  /* Enables the MPU */
  HAL_MPU_Enable(MPU_PRIVILEGED_DEFAULT);

}

void Error_Handler(void)
{
  /* USER CODE BEGIN Error_Handler_Debug */
  /* User can add his own implementation to report the HAL error return state */
  __disable_irq();
  printf("Error_Handler entered, hi3c1.State=0x%02lX hi3c1.ErrorCode=0x%08lX\r\n",
         (unsigned long)HAL_I3C_GetState(&hi3c1),
         (unsigned long)hi3c1.ErrorCode);
  while (1)
  {
  }
  /* USER CODE END Error_Handler_Debug */
}
